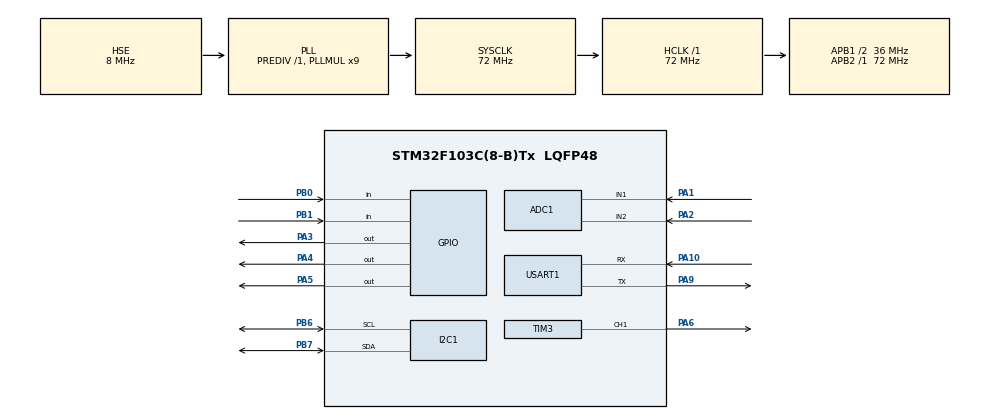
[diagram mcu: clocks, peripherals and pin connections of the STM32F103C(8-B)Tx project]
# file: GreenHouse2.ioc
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ADC1.Channel-0\#ChannelRegularConversion=ADC_CHANNEL_1
ADC1.ContinuousConvMode=ENABLE
ADC1.NbrOfConversionFlag=1
ADC1.Rank-0\#ChannelRegularConversion=1
ADC1.SamplingTime-0\#ChannelRegularConversion=ADC_SAMPLETIME_1CYCLE_5
ADC1.master=1
Mcu.Family=STM32F1
Mcu.Name=STM32F103C(8-B)Tx
Mcu.Package=LQFP48
NVIC.PriorityGroup=NVIC_PRIORITYGROUP_4
PA1.Signal=ADCx_IN1
PA10.Mode=Asynchronous
PA10.Signal=USART1_RX
PA13.Mode=Serial_Wire
PA13.Signal=SYS_JTMS-SWDIO
PA14.Mode=Serial_Wire
PA14.Signal=SYS_JTCK-SWCLK
PA2.Signal=ADCx_IN2
PA3.Signal=GPIO_Output
PA4.Signal=GPIO_Output
PA5.Signal=GPIO_Output
PA6.Signal=S_TIM3_CH1
PA9.Mode=Asynchronous
PA9.Signal=USART1_TX
PB0.GPIO_PuPd=GPIO_PULLUP
PB0.Signal=GPIO_Input
PB1.GPIO_PuPd=GPIO_PULLUP
PB1.Signal=GPIO_Input
PB6.Mode=I2C
PB6.Signal=I2C1_SCL
PB7.Mode=I2C
PB7.Signal=I2C1_SDA
PD0-OSC_IN.Mode=HSE-External-Oscillator
PD0-OSC_IN.Signal=RCC_OSC_IN
PD1-OSC_OUT.Mode=HSE-External-Oscillator
PD1-OSC_OUT.Signal=RCC_OSC_OUT
ProjectManager.HeapSize=0x200
ProjectManager.StackSize=0x400
ProjectManager.TargetToolchain=STM32CubeIDE
RCC.ADCPresc=RCC_ADCPCLK2_DIV6
RCC.AHBFreq_Value=72000000
RCC.APB1CLKDivider=RCC_HCLK_DIV2
RCC.APB1Freq_Value=36000000
RCC.APB1TimFreq_Value=72000000
RCC.APB2Freq_Value=72000000
RCC.APB2TimFreq_Value=72000000
RCC.HCLKFreq_Value=72000000
RCC.PLLMUL=RCC_PLL_MUL9
RCC.PLLSourceVirtual=RCC_PLLSOURCE_HSE
RCC.SYSCLKFreq_VALUE=72000000
RCC.SYSCLKSource=RCC_SYSCLKSOURCE_PLLCLK
RCC.USBFreq_Value=72000000
SH.ADCx_IN1.0=ADC1_IN1,IN1
SH.ADCx_IN2.0=ADC1_IN2,IN2
SH.S_TIM3_CH1.0=TIM3_CH1,PWM Generation1 CH1
TIM3.Channel-PWM\ Generation1\ CH1=TIM_CHANNEL_1
TIM3.Period=999
TIM3.Prescaler=71
USART1.VirtualMode=VM_ASYNC
board=custom

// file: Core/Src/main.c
/* USER CODE BEGIN Header */
/**
  ******************************************************************************
  * @file           : main.c
  * @brief          : Main program body
  ******************************************************************************
  * @attention
  *
  * Copyright (c) 2026 STMicroelectronics.
  * All rights reserved.
  *
  * This software is licensed under terms that can be found in the LICENSE file
  * in the root directory of this software component.
  * If no LICENSE file comes with this software, it is provided AS-IS.
  *
  ******************************************************************************
  */
/* USER CODE END Header */
#include "main.h"
#include "adc.h"
#include "i2c.h"
#include "tim.h"
#include "usart.h"
#include "gpio.h"

/* USER CODE BEGIN Includes */
#include <stdio.h>
#include <string.h>
/* USER CODE END Includes */

/* USER CODE BEGIN PD */
// آدرس آی‌سی نمایشگر OLED در پروتئوس معمولاً 0x78 است
#define SSD1306_I2C_ADDR 0x78

// تعریف پین سنسور دما DS18B20 (فرض بر پایه PA0)
#define DS18B20_PORT GPIOA
#define DS18B20_PIN  GPIO_PIN_0
/* USER CODE END PD */

/* USER CODE BEGIN PV */
float temperature = 0;
uint16_t ldr_value = 0;    // مقدار نور
uint16_t soil_value = 0;   // مقدار رطوبت خاک (پتانسیومتر)
uint8_t system_mode = 0;   // 0: AUTO, 1: MANUAL
uint8_t door_open = 0;     // وضعیت درب
char msg[50];              // برای ارسال پیام‌های سریال
/* USER CODE END PV */

void SystemClock_Config(void);
/* USER CODE BEGIN PFP */
void Read_Sensors(void);
void Control_Logic(void);
void Update_Display(void);
void Process_Serial_Commands(void);

// توابع کمکی سنسور دما DS18B20
void delay_us(uint32_t us);
uint8_t DS18B20_Start(void);
void DS18B20_Write(uint8_t data);
uint8_t DS18B20_Read(void);
/* USER CODE END PFP */

/* USER CODE BEGIN 0 */
// تاخیر میکروثانیه برای سنسور دما
void delay_us(uint32_t us) {
    uint32_t count = us * 8; // تقریب برای 72MHz
    while(count--);
}

// تابع خواندن سنسور دما (ساده شده برای پروتئوس)
float Get_Temperature(void) {
    uint8_t low, high;
    uint16_t temp_raw;
    if (DS18B20_Start()) {
        DS18B20_Write(0xCC); // Skip ROM
        DS18B20_Write(0x44); // Convert T
        HAL_Delay(10);        // در واقعیت بیشتر است، در پروتئوس کمتر
        DS18B20_Start();
        DS18B20_Write(0xCC);
        DS18B20_Write(0xBE); // Read Scratchpad
        low = DS18B20_Read();
        high = DS18B20_Read();
        temp_raw = (high << 8) | low;
        return (float)temp_raw / 16.0;
    }
    return 0;
}
/* USER CODE END 0 */

int main(void)
{

  /* MCU Configuration--------------------------------------------------------*/

  /* Reset of all peripherals, Initializes the Flash interface and the Systick. */
  HAL_Init();

  /* Configure the system clock */
  SystemClock_Config();

  /* Initialize all configured peripherals */
  MX_GPIO_Init();
  MX_ADC1_Init();
  MX_I2C1_Init();
  MX_TIM3_Init();
  MX_USART1_UART_Init();
  /* USER CODE BEGIN 2 */
  HAL_TIM_PWM_Start(&htim3, TIM_CHANNEL_1); // فعال‌سازی PWM گرمایش
  HAL_TIM_PWM_Start(&htim3, TIM_CHANNEL_2); // فعال‌سازی PWM نور

  sprintf(msg, "System Initialized...\r\n");
  HAL_UART_Transmit(&huart1, (uint8_t*)msg, strlen(msg), 100);
  /* USER CODE END 2 */

  /* Infinite loop */
  while (1)
  {

    /* USER CODE BEGIN 3 */
    Read_Sensors();            // خواندن تمام سنسورها
    Process_Serial_Commands(); // بررسی دستورات سریال در حالت دستی
    Control_Logic();           // اعمال منطق (فن، پمپ، گرمایش)
    Update_Display();          // بروزرسانی OLED و سریال

    HAL_Delay(500);            // نرخ بروزرسانی نیم ثانیه
  }
  /* USER CODE END 3 */
}

void SystemClock_Config(void)
{
  RCC_OscInitTypeDef RCC_OscInitStruct = {0};
  RCC_ClkInitTypeDef RCC_ClkInitStruct = {0};
  RCC_PeriphCLKInitTypeDef PeriphClkInit = {0};

  /** Initializes the RCC Oscillators according to the specified parameters
  * in the RCC_OscInitTypeDef structure.
  */
  RCC_OscInitStruct.OscillatorType = RCC_OSCILLATORTYPE_HSE;
  RCC_OscInitStruct.HSEState = RCC_HSE_ON;
  RCC_OscInitStruct.HSEPredivValue = RCC_HSE_PREDIV_DIV1;
  RCC_OscInitStruct.HSIState = RCC_HSI_ON;
  RCC_OscInitStruct.PLL.PLLState = RCC_PLL_ON;
  RCC_OscInitStruct.PLL.PLLSource = RCC_PLLSOURCE_HSE;
  RCC_OscInitStruct.PLL.PLLMUL = RCC_PLL_MUL9;
  if (HAL_RCC_OscConfig(&RCC_OscInitStruct) != HAL_OK)
  {
    Error_Handler();
  }

  /** Initializes the CPU, AHB and APB buses clocks
  */
  RCC_ClkInitStruct.ClockType = RCC_CLOCKTYPE_HCLK|RCC_CLOCKTYPE_SYSCLK
                              |RCC_CLOCKTYPE_PCLK1|RCC_CLOCKTYPE_PCLK2;
  RCC_ClkInitStruct.SYSCLKSource = RCC_SYSCLKSOURCE_PLLCLK;
  RCC_ClkInitStruct.AHBCLKDivider = RCC_SYSCLK_DIV1;
  RCC_ClkInitStruct.APB1CLKDivider = RCC_HCLK_DIV2;
  RCC_ClkInitStruct.APB2CLKDivider = RCC_HCLK_DIV1;

  if (HAL_RCC_ClockConfig(&RCC_ClkInitStruct, FLASH_LATENCY_2) != HAL_OK)
  {
    Error_Handler();
  }
  PeriphClkInit.PeriphClockSelection = RCC_PERIPHCLK_ADC;
  PeriphClkInit.AdcClockSelection = RCC_ADCPCLK2_DIV6;
  if (HAL_RCCEx_PeriphCLKConfig(&PeriphClkInit) != HAL_OK)
  {
    Error_Handler();
  }
}

/* USER CODE BEGIN 4 */
void Read_Sensors(void) {
    // خواندن دما
    temperature = Get_Temperature();

    // اصلاح خواندن ADC: به جای کانفیگ مجدد، فقط استارت کن
    HAL_ADC_Start(&hadc1);
    if(HAL_ADC_PollForConversion(&hadc1, 10) == HAL_OK) {
        ldr_value = HAL_ADC_GetValue(&hadc1); // مقدار اول (نور)
    }
    if(HAL_ADC_PollForConversion(&hadc1, 10) == HAL_OK) {
        soil_value = HAL_ADC_GetValue(&hadc1); // مقدار دوم (رطوبت)
    }
    HAL_ADC_Stop(&hadc1);

    // خواندن دکمه‌ها (PB0 و PB1)
    if(HAL_GPIO_ReadPin(GPIOB, GPIO_PIN_0) == GPIO_PIN_RESET) {
        HAL_Delay(200); // Debounce
        system_mode = !system_mode;
    }
    door_open = HAL_GPIO_ReadPin(GPIOB, GPIO_PIN_1);
}

void Control_Logic(void) {
    if (system_mode == 0) { // AUTO
        // فن روی PA3
        HAL_GPIO_WritePin(GPIOA, GPIO_PIN_3, (temperature > 30.0) ? GPIO_PIN_SET : GPIO_PIN_RESET);

        // پمپ روی PA4
        HAL_GPIO_WritePin(GPIOA, GPIO_PIN_4, (soil_value < 1500) ? GPIO_PIN_SET : GPIO_PIN_RESET);

        // گرمایش PWM روی PA6 (تایمر 3 کانال 1)
        if (temperature < 20.0) __HAL_TIM_SET_COMPARE(&htim3, TIM_CHANNEL_1, 900);
        else __HAL_TIM_SET_COMPARE(&htim3, TIM_CHANNEL_1, 0);

        // نور PWM روی PA7 (تایمر 3 کانال 2)
        if (ldr_value < 1000) __HAL_TIM_SET_COMPARE(&htim3, TIM_CHANNEL_2, 900);
        else __HAL_TIM_SET_COMPARE(&htim3, TIM_CHANNEL_2, 0);
    }
}

void Process_Serial_Commands(void) {
    if (system_mode == 1) { // فقط در حالت MANUAL
        uint8_t rx_data;
        if (HAL_UART_Receive(&huart1, &rx_data, 1, 10) == HAL_OK) {
            if (rx_data == 'F') HAL_GPIO_TogglePin(GPIOA, GPIO_PIN_3); // Toggle Fan
            if (rx_data == 'P') HAL_GPIO_TogglePin(GPIOA, GPIO_PIN_4); // Toggle Pump
        }
    }
}

void Update_Display(void) {
    // ارسال اطلاعات به پورت سریال برای مانیتورینگ
    sprintf(msg, "Temp:%.1f L:%d S:%d Mode:%s Door:%s\r\n",
            temperature, ldr_value, soil_value,
            system_mode ? "MAN" : "AUTO",
            door_open ? "OPEN" : "CLOSE");
    HAL_UART_Transmit(&huart1, (uint8_t*)msg, strlen(msg), 100);

    // در اینجا توابع OLED فراخوانی می‌شوند (بسته به کتابخانه‌ای که در پروتئوس دارید)
    // به دلیل محدودیت فضا، کد کامل درایور OLED SSD1306 در اینجا نیامده اما ساختار آماده است.
}

// توابع پایه برای راه اندازی پروتکل 1-Wire سنسور دما
uint8_t DS18B20_Start(void) {
    GPIO_InitTypeDef GPIO_InitStruct = {0};
    GPIO_InitStruct.Pin = DS18B20_PIN;
    GPIO_InitStruct.Mode = GPIO_MODE_OUTPUT_PP;
    GPIO_InitStruct.Speed = GPIO_SPEED_FREQ_LOW;
    HAL_GPIO_Init(DS18B20_PORT, &GPIO_InitStruct);

    HAL_GPIO_WritePin(DS18B20_PORT, DS18B20_PIN, GPIO_PIN_RESET);
    delay_us(480);

    GPIO_InitStruct.Mode = GPIO_MODE_INPUT;
    HAL_GPIO_Init(DS18B20_PORT, &GPIO_InitStruct);
    delay_us(80);

    if (!(HAL_GPIO_ReadPin(DS18B20_PORT, DS18B20_PIN))) {
        delay_us(400);
        return 1;
    }
    return 0;
}

void DS18B20_Write(uint8_t data) {
    GPIO_InitTypeDef GPIO_InitStruct = {0};
    GPIO_InitStruct.Pin = DS18B20_PIN;
    GPIO_InitStruct.Mode = GPIO_MODE_OUTPUT_PP;
    HAL_GPIO_Init(DS18B20_PORT, &GPIO_InitStruct);

    for (int i=0; i<8; i++) {
        if ((data & (1<<i)) != 0) {
            HAL_GPIO_WritePin(DS18B20_PORT, DS18B20_PIN, GPIO_PIN_RESET);
            delay_us(1);
            HAL_GPIO_WritePin(DS18B20_PORT, DS18B20_PIN, GPIO_PIN_SET);
            delay_us(60);
        } else {
            HAL_GPIO_WritePin(DS18B20_PORT, DS18B20_PIN, GPIO_PIN_RESET);
            delay_us(60);
            HAL_GPIO_WritePin(DS18B20_PORT, DS18B20_PIN, GPIO_PIN_SET);
            delay_us(1);
        }
    }
}

uint8_t DS18B20_Read(void) {
    uint8_t value = 0;
    for (int i=0; i<8; i++) {
        GPIO_InitTypeDef GPIO_InitStruct = {0};
        GPIO_InitStruct.Pin = DS18B20_PIN;
        GPIO_InitStruct.Mode = GPIO_MODE_OUTPUT_PP;
        HAL_GPIO_Init(DS18B20_PORT, &GPIO_InitStruct);

        HAL_GPIO_WritePin(DS18B20_PORT, DS18B20_PIN, GPIO_PIN_RESET);
        delay_us(2);

        GPIO_InitStruct.Mode = GPIO_MODE_INPUT;
        HAL_GPIO_Init(DS18B20_PORT, &GPIO_InitStruct);
        if (HAL_GPIO_ReadPin(DS18B20_PORT, DS18B20_PIN)) value |= (1<<i);
        delay_us(60);
    }
    return value;
}
/* USER CODE END 4 */

void Error_Handler(void)
{
  __disable_irq();
  while (1)
  {
  }
}
// بقیه فایل به صورت خودکار توسط CubeMX مدیریت می‌شود...
